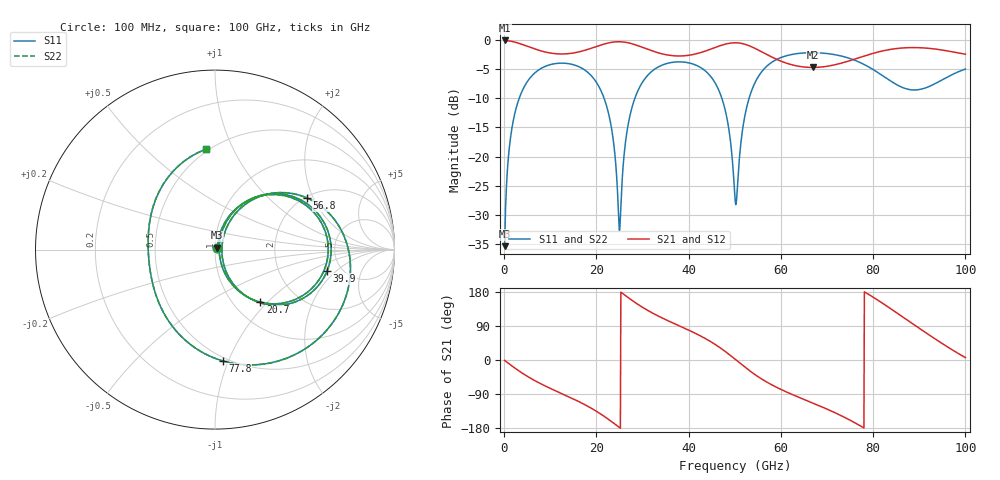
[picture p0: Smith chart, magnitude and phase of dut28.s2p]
! Touchstone file exported from HFSS 2026.1.0
!  File:  C:/ffzhzh/LocalFiles/Ansys_Project_Files/temp_train_TSV_RDL_28_1783440426_34316.aedt
!  Generated:  12:16:44 AM Jul  8, 2026
!  Design:  TSV_RDL
!  Project:  temp_train_TSV_RDL_28_1783440426_34316
! Variables:
!  h_bsmrdl = 3.68um
!  h_ox = 20um
!  h_rdl = 5um
!  h_sub = 68.96um
!  h_tmrdl = 4.35um
!  h_tsv = 68.96um
!  h_via = 3um
!  l_bsmrdl = 482.46um
!  l_sub = 2393.59um
!  l_tmrdl = 113.37um
!  m_sub = 200um
!  pitch = 58.72um
!  r_tsv = 10.47um
!  s_tmrdl = 10um
!  w_bsmrdl = 14.58um
!  w_sub = 500um
!  w_tmrdl = 16.33um
!  x_tsv_center1 = 121.535um
!  x_tsv_center2 = 618.575um
!  x_tsv_center3 = 748.275um
!  x_tsv_center4 = 1245.315um
!  x_tsv_center5 = 1375.015um
!  x_tsv_center6 = 1872.055um
# GHz S MA R 50.000000
! Terminal data exported
! Port[1] = TM_RDL1_1_T1
! Port[2] = TM_RDL5_1_T1
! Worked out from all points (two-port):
!   1000 points, 100 MHz to 100 GHz, reference 50 ohm
!   highest |S21| = -0.11 dB at 100 MHz (marker M1); lowest = -4.7 dB at 66.9 GHz (marker M2)
!   |S21| within 3 dB of the highest: start of sweep to 58.44 GHz; 76.77 GHz to end of sweep
!   lowest |S11| = -35.4 dB at 100 MHz (marker M3), VSWR 1.03, Z = 51.3 + j1.11 ohm
!   |S11| at or under -10 dB: start of sweep to 3.276 GHz; 21.66 GHz to 28.35 GHz (6.694 GHz wide, 26.8 % of centre); 47.19 GHz to 53.11 GHz (5.92 GHz wide, 11.8 % of centre)
!   |S22| runs from -35.4 to -2.2 dB; largest |S21 - S12| = 5.6e-14
!   S11 on the Smith chart (normalised r, x): 100 MHz: 1.03, +0.02; 20.7 GHz: 1.32, -0.91; 39.9 GHz: 3.85, -1.53; 56.8 GHz: 2.03, +1.79; 77.8 GHz: 0.47, -0.95; 100 GHz: 0.48, +0.79
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0.1  0.01705 39.6  0.987 -1.0  0.987 -1.0  0.01705 39.6
! Gamma 0 0 0 0
! Port Impedance 50 0 50 0
1.5  0.1566 70.2  0.9718 -13.9  0.9718 -13.9  0.1566 70.2
4.1  0.3784 51.1  0.907 -36.1  0.907 -36.1  0.3784 51.1
10.5  0.6193 10.8  0.7652 -77.7  0.7652 -77.7  0.6193 10.8
16.8  0.5722 -23.7  0.7986 -113.5  0.7986 -113.5  0.5722 -23.7
20.7  0.387 -49.2  0.8944 -140.7  0.8944 -140.7  0.387 -49.1
23.3  0.1725 -66.3  0.9514 -162.6  0.9514 -162.6  0.1725 -66.3
25  0.02327 -2.3  0.9626 -178.1  0.9626 -178.1  0.02358 -2.2
27.7  0.2618 61.8  0.9251 157.6  0.9251 157.6  0.2619 61.8
33.4  0.5848 24.2  0.7732 116.1  0.7732 116.1  0.5848 24.2
39.9  0.6357 -10.7  0.7355 79.4  0.7355 79.4  0.6357 -10.8
46.9  0.3406 -53.9  0.8919 31.6  0.8919 31.6  0.3406 -54.0
48.6  0.1833 -63.1  0.9301 16.3  0.9301 16.3  0.1832 -63.3
50.1  0.04128 -20.3  0.9427 1.8  0.9427 1.8  0.04085 -20.6
52.7  0.2758 58.0  0.902 -23.5  0.902 -23.5  0.2757 58.0
56.8  0.5867 29.5  0.7533 -57.2  0.7533 -57.2  0.5867 29.5
66.7  0.7755 -23.0  0.5794 -112.6  0.5794 -112.6  0.7756 -23.0
66.9  0.7755 -23.9  0.5794 -113.6  0.5794 -113.6  0.7756 -23.9
77.8  0.6214 -86.1  0.7203 -177.9  0.7203 -177.9  0.6217 -86.0
83.4  0.4537 -129.1  0.8229 138.7  0.8229 138.7  0.454 -128.9
90.5  0.3782 169.4  0.8539 79.6  0.8539 79.6  0.3785 169.7
100  0.5613 95.0  0.7526 6.3  0.7526 6.3  0.5615 95.1
